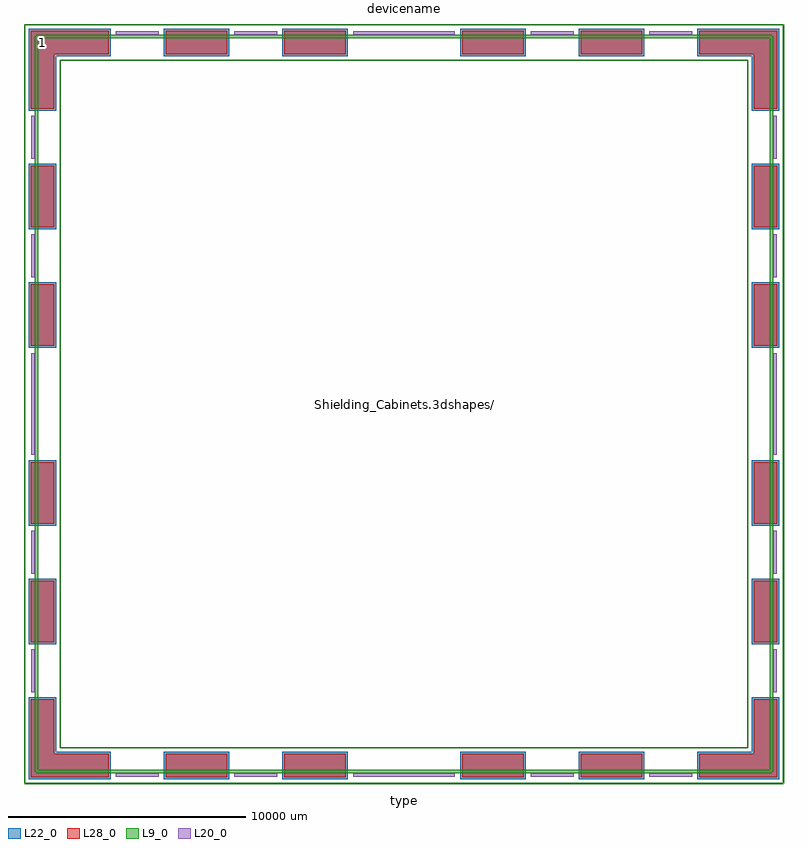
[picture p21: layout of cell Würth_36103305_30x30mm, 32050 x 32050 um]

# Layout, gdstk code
import gdstk
lib = gdstk.Library(unit=1e-6, precision=1e-09)
def R(c, l, rs):  # rectangles x0, y0, x1, y1
    for r in rs: c.add(gdstk.rectangle(r[:2], r[2:], *l))
L9_0 = (9, 0)
L20_0 = (20, 0)
L22_0 = (22, 0)
L28_0 = (28, 0)

w_rth_36103305_30x30mm = lib.new_cell('Würth_36103305_30x30mm')
R(w_rth_36103305_30x30mm, L22_0, [(-15825,-15825,-14675,-14675), (-14825,-15825,-12375,-14675), (-10125,-15825,-7375,-14675), (-5125,-15825,-2375,-14675), (2375,-15825,5125,-14675), (7375,-15825,10125,-14675), (12375,-15825,14825,-14675), (14675,-15825,15825,-14675), (-15825,-14825,-14675,-12375), (14675,-14825,15825,-12375), (-15825,-10125,-14675,-7375), (14675,-10125,15825,-7375), (-15825,-5125,-14675,-2375), (14675,-5125,15825,-2375), (-15825,2375,-14675,5125), (14675,2375,15825,5125), (-15825,7375,-14675,10125), (14675,7375,15825,10125), (-15825,12375,-14675,14825), (14675,12375,15825,14825), (-15825,14675,-14675,15825), (-14825,14675,-12375,15825), (-10125,14675,-7375,15825), (-5125,14675,-2375,15825), (2375,14675,5125,15825), (7375,14675,10125,15825), (12375,14675,14825,15825), (14675,14675,15825,15825)])
R(w_rth_36103305_30x30mm, L28_0, [(-15750,-15750,-14750,-14750), (-14750,-15750,-12450,-14750), (-10050,-15750,-7450,-14750), (-5050,-15750,-2450,-14750), (2450,-15750,5050,-14750), (7450,-15750,10050,-14750), (12450,-15750,14750,-14750), (14750,-15750,15750,-14750), (-15750,-14750,-14750,-12450), (14750,-14750,15750,-12450), (-15750,-10050,-14750,-7450), (14750,-10050,15750,-7450), (-15750,-5050,-14750,-2450), (14750,-5050,15750,-2450), (-15750,2450,-14750,5050), (14750,2450,15750,5050), (-15750,7450,-14750,10050), (14750,7450,15750,10050), (-15750,12450,-14750,14750), (14750,12450,15750,14750), (-15750,14750,-14750,15750), (-14750,14750,-12450,15750), (-10050,14750,-7450,15750), (-5050,14750,-2450,15750), (2450,14750,5050,15750), (7450,14750,10050,15750), (12450,14750,14750,15750), (14750,14750,15750,15750)])
w_rth_36103305_30x30mm.add(gdstk.FlexPath([(15650,-10350),(15650,-12150)], 149.998, ends="flush", simple_path=True, layer=20, datatype=0))  # L20_0
w_rth_36103305_30x30mm.add(gdstk.FlexPath([(-15650,-10350),(-15650,-12150)], 149.998, ends="flush", simple_path=True, layer=20, datatype=0))  # L20_0
w_rth_36103305_30x30mm.add(gdstk.FlexPath([(15650,-5350),(15650,-7150)], 149.998, ends="flush", simple_path=True, layer=20, datatype=0))  # L20_0
w_rth_36103305_30x30mm.add(gdstk.FlexPath([(-15650,-5350),(-15650,-7150)], 149.998, ends="flush", simple_path=True, layer=20, datatype=0))  # L20_0
w_rth_36103305_30x30mm.add(gdstk.FlexPath([(15650,2150),(15650,-2150)], 149.998, ends="flush", simple_path=True, layer=20, datatype=0))  # L20_0
w_rth_36103305_30x30mm.add(gdstk.FlexPath([(-15650,2150),(-15650,-2150)], 149.998, ends="flush", simple_path=True, layer=20, datatype=0))  # L20_0
w_rth_36103305_30x30mm.add(gdstk.FlexPath([(15650,7150),(15650,5350)], 149.998, ends="flush", simple_path=True, layer=20, datatype=0))  # L20_0
w_rth_36103305_30x30mm.add(gdstk.FlexPath([(-15650,7150),(-15650,5350)], 149.998, ends="flush", simple_path=True, layer=20, datatype=0))  # L20_0
w_rth_36103305_30x30mm.add(gdstk.FlexPath([(15650,12150),(15650,10350)], 149.998, ends="flush", simple_path=True, layer=20, datatype=0))  # L20_0
w_rth_36103305_30x30mm.add(gdstk.FlexPath([(-15650,12150),(-15650,10350)], 149.998, ends="flush", simple_path=True, layer=20, datatype=0))  # L20_0
w_rth_36103305_30x30mm.add(gdstk.FlexPath([(10350,-15650),(12150,-15650)], 149.998, ends="flush", simple_path=True, layer=20, datatype=0))  # L20_0
w_rth_36103305_30x30mm.add(gdstk.FlexPath([(10350,15650),(12150,15650)], 149.998, ends="flush", simple_path=True, layer=20, datatype=0))  # L20_0
w_rth_36103305_30x30mm.add(gdstk.FlexPath([(5350,-15650),(7150,-15650)], 149.998, ends="flush", simple_path=True, layer=20, datatype=0))  # L20_0
w_rth_36103305_30x30mm.add(gdstk.FlexPath([(5350,15650),(7150,15650)], 149.998, ends="flush", simple_path=True, layer=20, datatype=0))  # L20_0
w_rth_36103305_30x30mm.add(gdstk.FlexPath([(-2150,-15650),(2150,-15650)], 149.998, ends="flush", simple_path=True, layer=20, datatype=0))  # L20_0
w_rth_36103305_30x30mm.add(gdstk.FlexPath([(-2150,15650),(2150,15650)], 149.998, ends="flush", simple_path=True, layer=20, datatype=0))  # L20_0
w_rth_36103305_30x30mm.add(gdstk.FlexPath([(-7150,-15650),(-5350,-15650)], 149.998, ends="flush", simple_path=True, layer=20, datatype=0))  # L20_0
w_rth_36103305_30x30mm.add(gdstk.FlexPath([(-7150,15650),(-5350,15650)], 149.998, ends="flush", simple_path=True, layer=20, datatype=0))  # L20_0
w_rth_36103305_30x30mm.add(gdstk.FlexPath([(-12150,-15650),(-10350,-15650)], 149.998, ends="flush", simple_path=True, layer=20, datatype=0))  # L20_0
w_rth_36103305_30x30mm.add(gdstk.FlexPath([(-12150,15650),(-10350,15650)], 149.998, ends="flush", simple_path=True, layer=20, datatype=0))  # L20_0
w_rth_36103305_30x30mm.add(gdstk.FlexPath([(15500,15500),(-15500,15500)], 149.998, ends="flush", simple_path=True, layer=9, datatype=0))  # L9_0
w_rth_36103305_30x30mm.add(gdstk.FlexPath([(15500,-15500),(15500,15500)], 149.998, ends="flush", simple_path=True, layer=9, datatype=0))  # L9_0
w_rth_36103305_30x30mm.add(gdstk.FlexPath([(-15500,-15500),(15500,-15500)], 149.998, ends="flush", simple_path=True, layer=9, datatype=0))  # L9_0
w_rth_36103305_30x30mm.add(gdstk.FlexPath([(-15500,15500),(-15500,-15500)], 149.998, ends="flush", simple_path=True, layer=9, datatype=0))  # L9_0
w_rth_36103305_30x30mm.add(gdstk.FlexPath([(14500,14500),(-14500,14500)], 50, ends="flush", simple_path=True, layer=9, datatype=0))  # L9_0
w_rth_36103305_30x30mm.add(gdstk.FlexPath([(14500,-14500),(14500,14500)], 50, ends="flush", simple_path=True, layer=9, datatype=0))  # L9_0
w_rth_36103305_30x30mm.add(gdstk.FlexPath([(-14500,-14500),(14500,-14500)], 50, ends="flush", simple_path=True, layer=9, datatype=0))  # L9_0
w_rth_36103305_30x30mm.add(gdstk.FlexPath([(-14500,14500),(-14500,-14500)], 50, ends="flush", simple_path=True, layer=9, datatype=0))  # L9_0
w_rth_36103305_30x30mm.add(gdstk.FlexPath([(16000,16000),(-16000,16000)], 50, ends="flush", simple_path=True, layer=9, datatype=0))  # L9_0
w_rth_36103305_30x30mm.add(gdstk.FlexPath([(16000,-16000),(16000,16000)], 50, ends="flush", simple_path=True, layer=9, datatype=0))  # L9_0
w_rth_36103305_30x30mm.add(gdstk.FlexPath([(-16000,-16000),(16000,-16000)], 50, ends="flush", simple_path=True, layer=9, datatype=0))  # L9_0
w_rth_36103305_30x30mm.add(gdstk.FlexPath([(-16000,16000),(-16000,-16000)], 50, ends="flush", simple_path=True, layer=9, datatype=0))  # L9_0
w_rth_36103305_30x30mm.add(gdstk.Label('Shielding_Cabinets.3dshapes/Würth_36103305_30x30mm.wrl', (0,0), layer=12, texttype=0))
w_rth_36103305_30x30mm.add(gdstk.Label('1', (-15250,15250), layer=28, texttype=0))
w_rth_36103305_30x30mm.add(gdstk.Label('type', (0,-16750), layer=9, texttype=0))
w_rth_36103305_30x30mm.add(gdstk.Label('devicename', (0,16750), layer=9, texttype=0))

lib.write_gds('Würth_36103305_30x30mm.gds')
